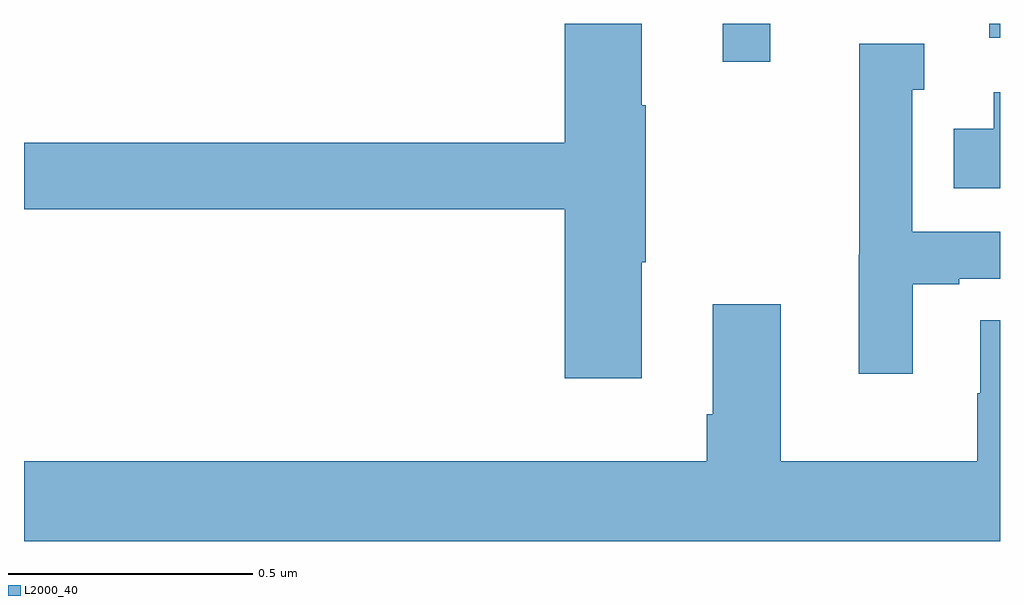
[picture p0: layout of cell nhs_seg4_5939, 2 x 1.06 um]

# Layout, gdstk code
import gdstk
lib = gdstk.Library(unit=1e-6, precision=1e-09)
def R(c, l, rs):  # rectangles x0, y0, x1, y1
    for r in rs: c.add(gdstk.rectangle(r[:2], r[2:], *l))
def P(c, l, *ps):  # polygons
    for p in ps: c.add(gdstk.Polygon(p, *l))
L2000_40 = (2000, 40)

nhs_seg4_5939 = lib.new_cell('nhs_seg4_5939')
R(nhs_seg4_5939, L2000_40, [(185.432,777.822,185.529,777.9), (185.978,777.872,186,777.9)])
P(nhs_seg4_5939, L2000_40, [(185.266,777.412),(185.274,777.412),(185.274,777.733),(185.266,777.733),(185.266,777.9),(185.108,777.9),(185.108,777.656),(184,777.656),(184,777.52),(185.108,777.52),(185.108,777.174),(185.266,777.174)],
  [(185.821,777.366),(185.917,777.366),(185.917,777.378),(186,777.378),(186,777.474),(185.82,777.474),(185.82,777.765),(185.845,777.765),(185.845,777.859),(185.712,777.859),(185.712,777.427),(185.711,777.427),(185.711,777.183),(185.821,777.183)],
  [(186,777.76),(185.987,777.76),(185.987,777.685),(185.905,777.685),(185.905,777.563),(186,777.563)],
  [(186,777.293),(185.96,777.293),(185.96,777.143),(185.953,777.143),(185.953,777.004),(185.551,777.004),(185.551,777.325),(185.411,777.325),(185.411,777.1),(185.399,777.1),(185.399,777.004),(184,777.004),(184,776.84),(186,776.84)])

lib.write_gds('nhs_seg4_5939.gds')
